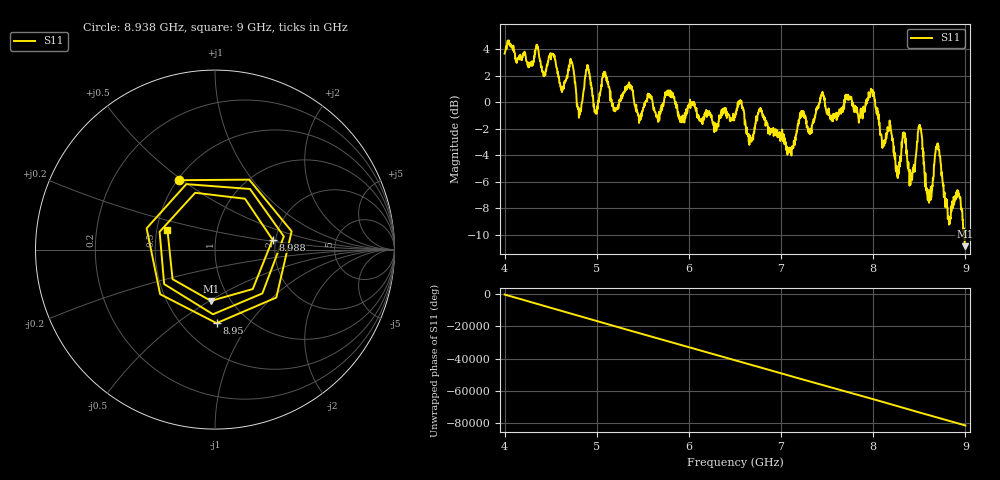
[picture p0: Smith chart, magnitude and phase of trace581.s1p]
! Created with skrf 1.8.0 (http://scikit-rf.org).
# Hz S RI R 50.0
!freq ReS11 ImS11
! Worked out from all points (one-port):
!   1601 points, 4 GHz to 9 GHz, reference 50 ohm
!   lowest |S11| = -10.9 dB at 8.994 GHz (marker M1), VSWR 1.80, Z = 40.7 - j25.3 ohm
!   |S11| at or under -10 dB: 8.989288 GHz to end of sweep
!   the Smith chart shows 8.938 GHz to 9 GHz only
!   S11 on the Smith chart (normalised r, x): 8.938 GHz: 0.51, +0.49; 8.95 GHz: 0.72, -0.71; 8.988 GHz: 1.93, +0.24; 9 GHz: 0.57, +0.14
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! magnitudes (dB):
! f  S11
! 4 GHz  3.7
! 4.519 GHz  3.6
! 4.625 GHz  1.0
! 4.722 GHz  3.1
! 4.809 GHz  -1.0
! 4.897 GHz  2.8
! 4.988 GHz  -0.8
! 5.081 GHz  2.1
! 5.25 GHz  0.1
! 5.875 GHz  -0.6
! 6.5 GHz  -1.1
! 7.125 GHz  -3.4
! 7.441 GHz  0.6
! 7.75 GHz  0.4
! 7.994 GHz  0.9
! 8.259 GHz  -5.6
! 8.331 GHz  -2.3
! 8.375 GHz  -4.9
! 8.428 GHz  -5.2
! 8.506 GHz  -1.7
! 8.597 GHz  -7.4
! 8.697 GHz  -3.2
! 8.816 GHz  -8.7
! 8.938 GHz  -7.2
! 8.95 GHz  -7.7
! 8.988 GHz  -9.7
! 8.994 GHz  -10.9
! 9 GHz  -10.8
